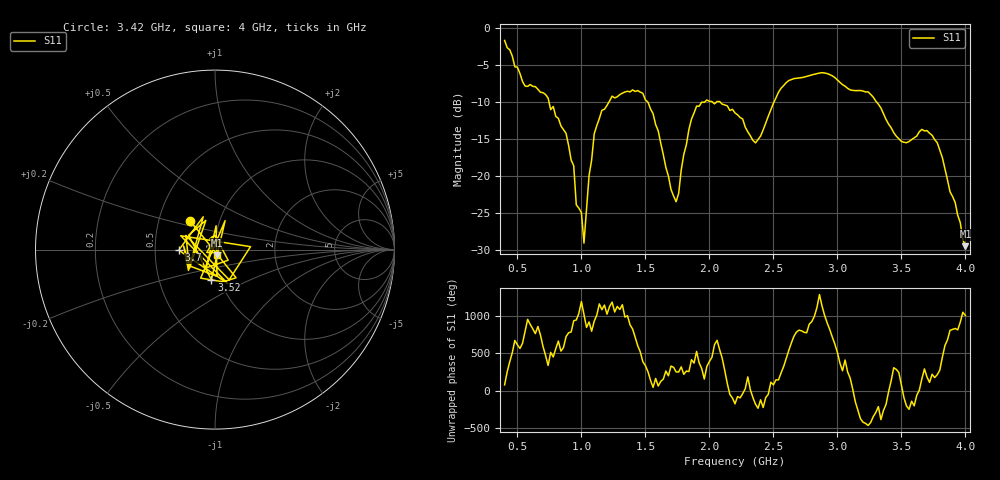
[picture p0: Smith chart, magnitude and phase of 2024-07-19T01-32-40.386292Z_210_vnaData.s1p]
!Created with skrf (http://scikit-rf.org).
# Hz S RI R 50.0
!freq ReS11 ImS11
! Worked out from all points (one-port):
!   181 points, 400 MHz to 4 GHz, reference 50 ohm
!   lowest |S11| = -29.5 dB at 4 GHz (marker M1), VSWR 1.07, Z = 51 - j3.24 ohm
!   |S11| at or under -10 dB: 746.3 MHz to 1.216 GHz (470 MHz wide, 47.9 % of centre); 1.516 GHz to 1.965 GHz (449 MHz wide, 25.8 % of centre); 3.304 GHz to end of sweep (the widest 3 of 5)
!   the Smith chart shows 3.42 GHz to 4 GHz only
!   S11 on the Smith chart (normalised r, x): 3.42 GHz: 0.72, +0.24; 3.52 GHz: 0.91, -0.31; 3.7 GHz: 0.66, -0.00; 4 GHz: 1.02, -0.06
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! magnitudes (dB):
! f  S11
! 400 MHz  -1.7
! 560 MHz  -7.9
! 720 MHz  -9.0
! 860 MHz  -13.8
! 940 MHz  -18.6
! 960 MHz  -23.9
! 1 GHz  -24.9
! 1.02 GHz  -29.0
! 1.06 GHz  -19.9
! 1.1 GHz  -14.3
! 1.3 GHz  -9.0
! 1.48 GHz  -8.9
! 1.6 GHz  -13.9
! 1.7 GHz  -21.8
! 1.76 GHz  -22.3
! 1.84 GHz  -13.7
! 1.9 GHz  -10.6
! 2.2 GHz  -11.5
! 2.36 GHz  -15.5
! 2.66 GHz  -6.9
! 3.1 GHz  -8.4
! 3.24 GHz  -8.7
! 3.42 GHz  -13.5
! 3.52 GHz  -15.5
! 3.56 GHz  -15.4
! 3.7 GHz  -13.9
! 3.82 GHz  -17.5
! 4 GHz  -29.5
